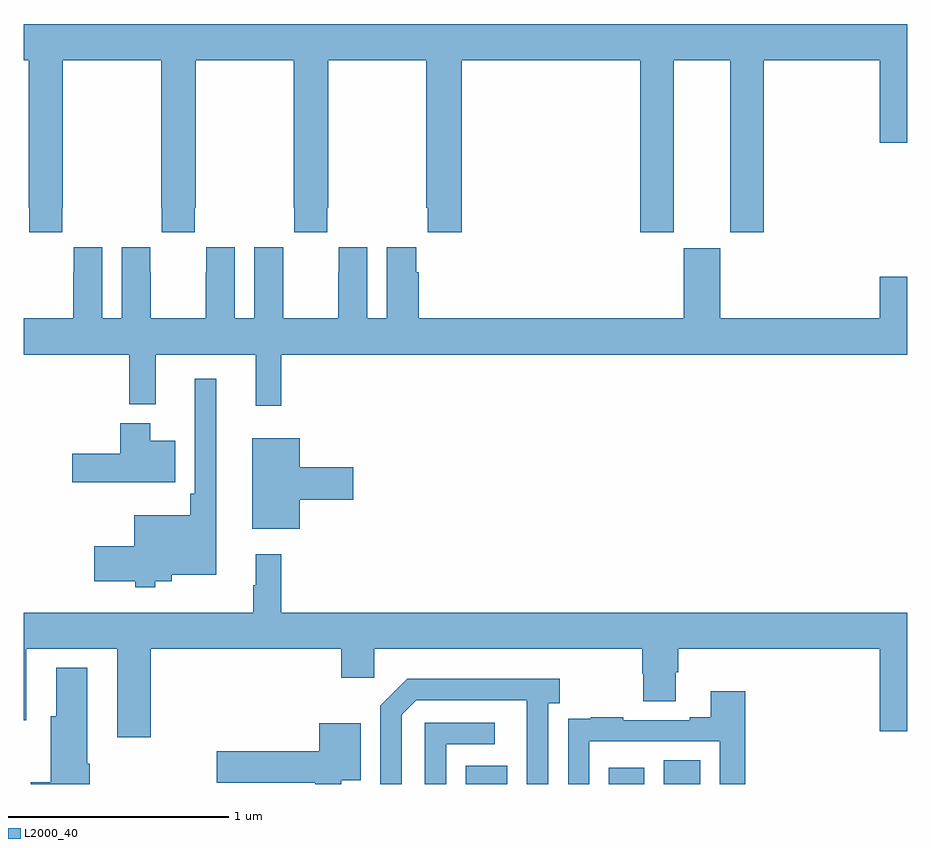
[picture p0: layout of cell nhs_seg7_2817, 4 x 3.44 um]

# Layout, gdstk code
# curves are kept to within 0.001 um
import gdstk
lib = gdstk.Library(unit=1e-6, precision=1e-09)
def R(c, l, rs):  # rectangles x0, y0, x1, y1
    for r in rs: c.add(gdstk.rectangle(r[:2], r[2:], *l))
def P(c, l, *ps):  # polygons
    for p in ps: c.add(gdstk.Polygon(p, *l))
L2000_40 = (2000, 40)

nhs_seg7_2817 = lib.new_cell('nhs_seg7_2817')
R(nhs_seg7_2817, L2000_40, [(295.001,1004,295.189,1004.083), (295.649,1004,295.81,1004.074), (295.898,1004,296.062,1004.108)])
P(nhs_seg7_2817, L2000_40, [(293.175,1006.609),(293.178,1006.609),(293.178,1007.276),(293.623,1007.276),(293.623,1006.609),(293.625,1006.609),(293.625,1006.497),(293.775,1006.497),(293.775,1006.609),(293.778,1006.609),(293.778,1007.276),(294.223,1007.276),(294.223,1006.609),(294.225,1006.609),(294.225,1006.497),(294.375,1006.497),(294.375,1006.609),(294.378,1006.609),(294.378,1007.276),(294.823,1007.276),(294.823,1006.609),(294.829,1006.609),(294.829,1006.497),(294.983,1006.497),(294.983,1007.276),(295.79,1007.276),(295.79,1006.497),(295.942,1006.497),(295.942,1007.276),(296.198,1007.276),(296.198,1006.497),(296.351,1006.497),(296.351,1007.276),(296.876,1007.276),(296.876,1006.902),(297,1006.902),(297,1007.44),(293,1007.44),(293,1007.276),(293.023,1007.276),(293.023,1006.609),(293.025,1006.609),(293.025,1006.497),(293.175,1006.497)],
  [(294.167,1005.944),(297,1005.944),(297,1006.297),(296.876,1006.297),(296.876,1006.108),(296.152,1006.108),(296.152,1006.425),(295.988,1006.425),(295.988,1006.108),(294.788,1006.108),(294.788,1006.316),(294.778,1006.316),(294.778,1006.429),(294.644,1006.429),(294.644,1006.108),(294.556,1006.108),(294.556,1006.429),(294.426,1006.429),(294.426,1006.316),(294.425,1006.316),(294.425,1006.108),(294.175,1006.108),(294.175,1006.316),(294.174,1006.316),(294.174,1006.429),(294.044,1006.429),(294.044,1006.108),(293.956,1006.108),(293.956,1006.429),(293.826,1006.429),(293.826,1006.316),(293.825,1006.316),(293.825,1006.108),(293.575,1006.108),(293.575,1006.316),(293.574,1006.316),(293.574,1006.429),(293.444,1006.429),(293.444,1006.108),(293.356,1006.108),(293.356,1006.429),(293.226,1006.429),(293.226,1006.316),(293.225,1006.316),(293.225,1006.108),(293,1006.108),(293,1005.944),(293.479,1005.944),(293.479,1005.719),(293.597,1005.719),(293.597,1005.944),(294.05,1005.944),(294.05,1005.711),(294.167,1005.711)],
  [(293.595,1004.918),(293.671,1004.918),(293.671,1004.948),(293.872,1004.948),(293.872,1005.835),(293.775,1005.835),(293.775,1005.313),(293.755,1005.313),(293.755,1005.217),(293.501,1005.217),(293.501,1005.076),(293.319,1005.076),(293.319,1004.918),(293.505,1004.918),(293.505,1004.891),(293.595,1004.891)],
  [(293.686,1005.553),(293.572,1005.553),(293.572,1005.634),(293.438,1005.634),(293.438,1005.495),(293.22,1005.495),(293.22,1005.365),(293.686,1005.365)],
  [(294.25,1005.287),(294.493,1005.287),(294.493,1005.434),(294.25,1005.434),(294.25,1005.565),(294.035,1005.565),(294.035,1005.155),(294.25,1005.155)],
  [(293.576,1004.612),(294.437,1004.612),(294.437,1004.481),(294.588,1004.481),(294.588,1004.612),(295.799,1004.612),(295.799,1004.499),(295.804,1004.499),(295.804,1004.374),(295.951,1004.374),(295.951,1004.506),(295.964,1004.506),(295.964,1004.612),(296.876,1004.612),(296.876,1004.238),(297,1004.238),(297,1004.776),(294.167,1004.776),(294.167,1005.04),(294.05,1005.04),(294.05,1004.9),(294.039,1004.9),(294.039,1004.776),(293,1004.776),(293,1004.289),(293.011,1004.289),(293.011,1004.612),(293.423,1004.612),(293.423,1004.211),(293.576,1004.211)],
  [(293.3,1004.092),(293.287,1004.092),(293.287,1004.527),(293.147,1004.527),(293.147,1004.307),(293.122,1004.307),(293.122,1004.009),(293.033,1004.009),(293.033,1004),(293.3,1004)],
  [(294.711,1004.313),(294.777,1004.379),(295.277,1004.379),(295.278,1004),(295.374,1004),(295.374,1004.366),(295.426,1004.366),(295.426,1004.476),(294.736,1004.476),(294.615,1004.355),(294.615,1004),(294.711,1004)],
  [(295.56,1004.193),(296.151,1004.193),(296.151,1004),(296.267,1004),(296.267,1004.419),(296.111,1004.419),(296.111,1004.302),(296.015,1004.302),(296.015,1004.289),(295.715,1004.289),(295.715,1004.302),(295.567,1004.302),(295.567,1004.295),(295.465,1004.295),(295.465,1004.186),(295.464,1004.186),(295.464,1004),(295.56,1004)],
  [(294.912,1004.181),(295.132,1004.181),(295.132,1004.277),(294.816,1004.277),(294.816,1004),(294.912,1004)],
  [(294.437,1004.018),(294.526,1004.018),(294.526,1004.275),(294.338,1004.275),(294.338,1004.148),(293.874,1004.148),(293.874,1004.006),(294.319,1004.006),(294.319,1004),(294.437,1004)])

lib.write_gds('nhs_seg7_2817.gds')
